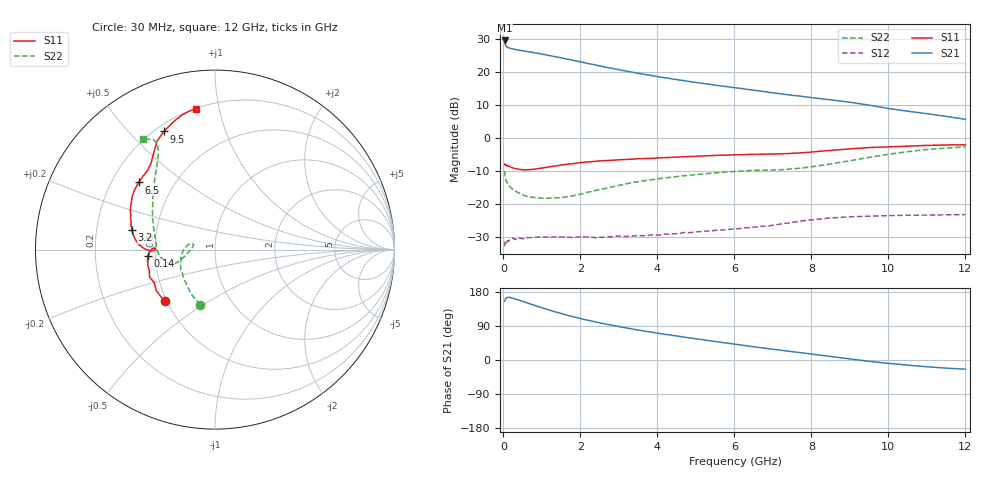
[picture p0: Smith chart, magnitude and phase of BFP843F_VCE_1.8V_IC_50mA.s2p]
! Infineon Technologies  Discrete & RF Semiconductors
! BFP843F
! VCE =  1.8 V,  IC =  50 mA
! Common Emitter S-Parameters:  Aug 2013
# GHz  S  MA  R  50
!  f  S11  S21  S12  S22
! GHz  MAG  ANG  MAG  ANG  MAG  ANG  MAG  ANG
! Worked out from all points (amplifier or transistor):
!   103 points, 30 MHz to 12 GHz, reference 50 ohm
!   highest |S21| = 29.5 dB at 30 MHz (marker M1)
!   |S21| within 3 dB of that: start of sweep to 432.7 MHz
!   unconditionally stable (mu >= 1): 67.76 MHz to 75.84 MHz; 83.42 MHz to end of sweep
!   at 400 MHz: K = 1.03, MAG = 27.2 dB, |S12| = -30.1 dB
!   at 3.7 GHz: K = 1.35, MAG = 20.8 dB, |S12| = -29.6 dB
!   at 12 GHz: K = 1.12, MAG = 12.3 dB, |S12| = -23.2 dB
!   S11 on the Smith chart (normalised r, x): 30 MHz: 0.49, -0.34; 140 MHz: 0.45, -0.04; 3.2 GHz: 0.36, +0.10; 6.5 GHz: 0.31, +0.34; 9.5 GHz: 0.23, +0.63; 12 GHz: 0.20, +0.85
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0.03  0.4029 -134.2  29.94 155.0  0.0231 24.8  0.3192 -104.9
0.04  0.399 -145.4  27.35 157.2  0.0263 16.6  0.2788 -119.3
0.05  0.385 -151.3  25.86 160.7  0.0266 20.7  0.2504 -128.7
0.07  0.3846 -161.8  24.5 163.3  0.0256 14.4  0.2228 -144.7
0.1  0.3798 -169.6  23.67 164.9  0.0268 17.6  0.2064 -159.1
0.14  0.3769 -174.4  23.1 165.1  0.028 11.1  0.1884 -169.5
0.25  0.3521 179.5  22.3 162.8  0.0305 10.9  0.166 176.7
0.7  0.333 -179.9  19.97 147.8  0.0312 6.7  0.1276 165.3
1.1  0.3578 -178.9  18.16 134.7  0.0318 7.9  0.1225 167.7
1.3  0.3739 -179.8  17.21 128.4  0.0319 8.3  0.1236 170.6
1.6  0.3969 178.9  15.88 119.8  0.0317 9.1  0.1276 176.1
2.1  0.4296 175.4  13.79 106.9  0.0319 11.2  0.1455 -175.8
2.6  0.4541 171.5  11.97 95.9  0.0316 13.1  0.1705 -168.0
3.2  0.4741 166.8  10.29 84.5  0.0326 17.0  0.2035 -163.2
4.1  0.5026 159.5  8.332 69.4  0.0344 22.3  0.2448 -161.3
5  0.5292 152.2  6.94 56.0  0.038 26.0  0.2792 -165.6
6.1  0.5597 142.9  5.682 40.4  0.0424 30.3  0.3139 -175.4
6.5  0.5665 138.7  5.286 34.9  0.0447 31.4  0.3235 -179.7
8.5  0.6505 121.2  3.781 9.2  0.0617 28.6  0.4047 149.5
9.5  0.7172 113.4  3.142 -3.5  0.0657 23.0  0.5092 131.5
10.5  0.7528 107.3  2.546 -13.5  0.0678 20.1  0.6216 120.5
12  0.7895 97.9  1.918 -24.3  0.0695 18.7  0.7348 122.9
